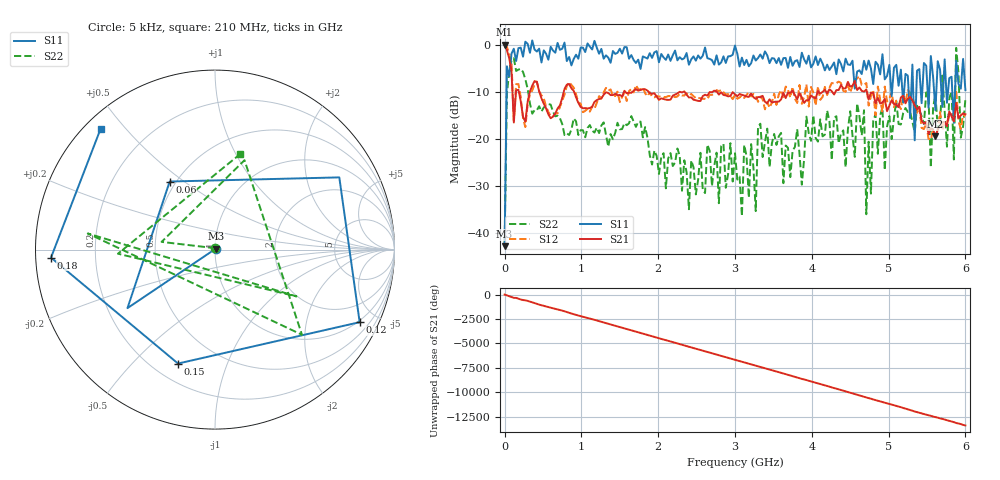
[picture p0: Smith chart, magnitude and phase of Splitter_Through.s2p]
#  HZ  S  DB  R  50.0
! Rohde & Schwarz ZVL13 2Ports - Version 3.20 - 1303.6509k13 SN: 100953
! Date: 2024-10-21 06:41:31
! Data & Calibration Information:
! Trc1:S11(TOSM) Trc4:S21(TOSM) Trc2:S12(TOSM) Trc3:S22(TOSM)
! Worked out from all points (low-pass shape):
!   201 points, 5 kHz to 6 GHz, reference 50 ohm
!   highest |S21| = 0.00 dB at 5 kHz (marker M1); lowest = -19.5 dB at 5.61 GHz (marker M2)
!   |S21| within 3 dB of the highest: start of sweep to 60.79 MHz
!   lowest |S11| = -42.8 dB at 5 kHz (marker M3), VSWR 1.01, Z = 50.5 + j0.554 ohm
!   |S11| at or under -10 dB: start of sweep to 25.79 MHz; 5.035609 GHz to 5.044833 GHz (9.223 MHz wide, 0.183 % of centre); 5.179927 GHz to 5.201574 GHz (21.65 MHz wide, 0.417 % of centre) (the widest 3 of 11)
!   |S22| runs from -42.1 to -0.7 dB; largest |S21 - S12| = 0.14
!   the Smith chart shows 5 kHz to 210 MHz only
!   S11 on the Smith chart (normalised r, x): 5 kHz: 1.01, +0.01; 60 MHz: 0.46, +0.44; 120 MHz: 0.93, -4.02; 150 MHz: 0.30, -0.68; 180 MHz: 0.04, -0.02; 210 MHz: 0.04, +0.43
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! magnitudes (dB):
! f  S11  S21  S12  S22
! 5 kHz  -42.8  0.0  0.0  -42.1
! 30 MHz  -4.6  -1.2  -0.6  -10.4
! 60 MHz  -6.8  -2.9  -2.0  -5.6
! 120 MHz  -0.9  -16.6  -16.1  -2.9
! 150 MHz  -3.5  -9.7  -8.4  -5.6
! 180 MHz  -0.8  -9.6  -8.4  -5.3
! 210 MHz  -0.7  -12.1  -11.1  -5.2
! 1.02 GHz  -0.7  -13.5  -14.4  -18.2
! 2.01 GHz  -3.8  -11.8  -11.1  -27.5
! 3 GHz  -0.2  -10.6  -10.7  -23.1
! 3.27 GHz  -3.4  -11.6  -10.7  -35.4
! 3.3 GHz  -2.9  -11.2  -12.2  -17.5
! 3.87 GHz  -1.7  -11.2  -12.6  -29.8
! 4.02 GHz  -4.1  -11.2  -10.2  -15.0
! 4.68 GHz  -3.5  -10.0  -8.6  -14.0
! 4.71 GHz  -5.4  -9.6  -8.2  -36.1
! 5.01 GHz  -4.3  -13.0  -11.5  -15.2
! 5.31 GHz  -4.3  -11.9  -11.6  -16.5
! 5.34 GHz  -20.4  -13.0  -12.5  -18.6
! 5.55 GHz  -2.4  -17.8  -20.2  -26.1
! 5.61 GHz  -14.0  -19.5  -19.8  -10.5
! 6 GHz  -9.7  -14.8  -15.2  -11.6
